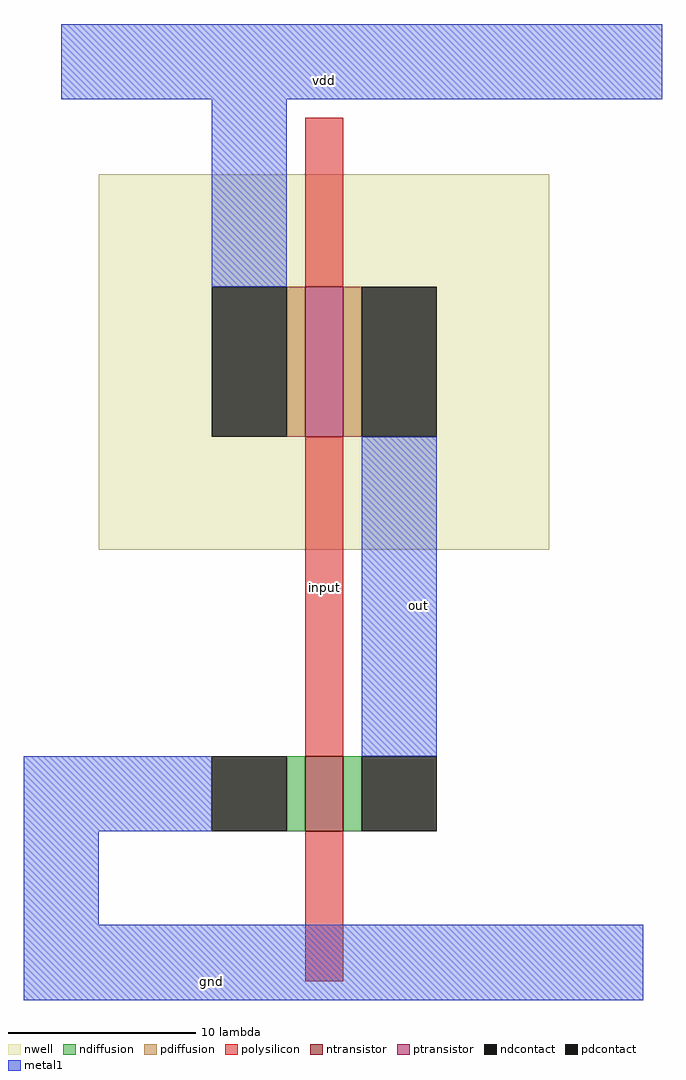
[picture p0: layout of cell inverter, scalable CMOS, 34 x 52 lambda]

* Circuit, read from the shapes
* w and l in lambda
.subckt inverter gnd input out vdd
M1 out input gnd VSUBS nfet w=4 l=2
M2 out input vdd n1 pfet w=8 l=2
.ends

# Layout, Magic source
magic
tech scmos
<< nwell >>
rect -10 -12 14 8
<< polysilicon >>
rect 1 2 3 11
rect 1 -23 3 -6
rect 1 -35 3 -27
<< ndiffusion >>
rect 0 -27 1 -23
rect 3 -27 4 -23
<< pdiffusion >>
rect 0 -6 1 2
rect 3 -6 4 2
<< metal1 >>
rect -12 12 20 16
rect -4 2 0 12
rect 4 -23 8 -6
rect -14 -27 -4 -23
rect -14 -32 -10 -27
rect -14 -36 19 -32
<< ntransistor >>
rect 1 -27 3 -23
<< ptransistor >>
rect 1 -6 3 2
<< ndcontact >>
rect -4 -27 0 -23
rect 4 -27 8 -23
<< pdcontact >>
rect -4 -6 0 2
rect 4 -6 8 2
<< labels >>
rlabel metal1 2 13 2 13 5 vdd
rlabel metal1 -4 -35 -4 -35 1 gnd
rlabel polysilicon 2 -14 2 -14 1 input
rlabel metal1 7 -15 7 -15 1 out
<< end >>
